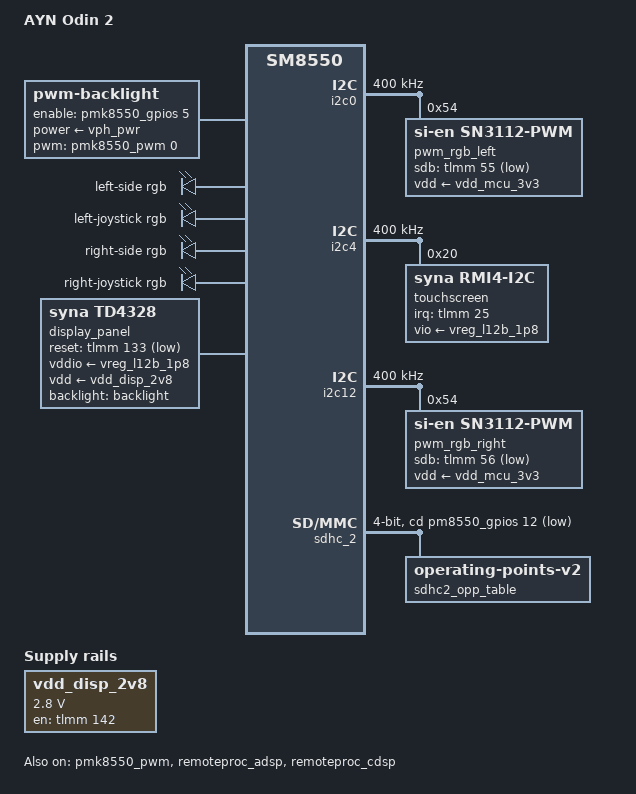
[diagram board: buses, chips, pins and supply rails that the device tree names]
// SPDX-License-Identifier: BSD-3-Clause
/*
 * Copyright (c) 2025, Teguh Sobirin.
 * Copyright (c) 2025, ROCKNIX (https://github.com/ROCKNIX)
 */

/dts-v1/;

#include "qcs8550-ayn-common.dtsi"

/ {
	model = "AYN Odin 2";
	compatible = "ayn,odin2", "qcom,qcs8550", "qcom,sm8550";
	qcom,msm-id = <603 0x20000>;
	qcom,board-id = <0x1001f 0>;

	backlight: backlight {
		compatible = "pwm-backlight";
		pwms = <&pmk8550_pwm 0 860000>;
		brightness-levels = <1023 0>;
		num-interpolated-steps = <1023>;
		default-brightness-level = <600>;
		power-supply = <&vph_pwr>;
		enable-gpios = <&pmk8550_gpios 5 GPIO_ACTIVE_HIGH>;
		pinctrl-names = "default";
		pinctrl-0 = <&pwm_backlight_default>;
		status = "okay";
	};

	vdd_disp_2v8: vdd-disp-2v8-regulator {
		compatible = "regulator-fixed";
		regulator-name = "vdd_disp_2v8";

		regulator-min-microvolt = <2800000>;
		regulator-max-microvolt = <2800000>;

		gpio = <&tlmm 142 GPIO_ACTIVE_HIGH>;
		enable-active-high;
	};

	led_left_side: led-controller-1 {
		compatible = "pwm-leds-multicolor";

		multi-led {
			label = "left-side";
			color = <LED_COLOR_ID_RGB>;
			max-brightness = <255>;

			led-red {
				color = <LED_COLOR_ID_RED>;
				pwms = <&pwm_rgb_left 0>;
			};

			led-green {
				color = <LED_COLOR_ID_GREEN>;
				pwms = <&pwm_rgb_left 1>;
			};

			led-blue {
				color = <LED_COLOR_ID_BLUE>;
				pwms = <&pwm_rgb_left 2>;
			};
		};
	};

	led_left_joystick: led-controller-2 {
		compatible = "pwm-leds-multicolor";

		multi-led {
			label = "left-joystick";
			color = <LED_COLOR_ID_RGB>;
			max-brightness = <255>;

			led-red {
				color = <LED_COLOR_ID_RED>;
				pwms = <&pwm_rgb_left 6>;
			};

			led-green {
				color = <LED_COLOR_ID_GREEN>;
				pwms = <&pwm_rgb_left 7>;
			};

			led-blue {
				color = <LED_COLOR_ID_BLUE>;
				pwms = <&pwm_rgb_left 8>;
			};
		};
	};

	led_right_side: led-controller-3 {
		compatible = "pwm-leds-multicolor";

		multi-led {
			label = "right-side";
			color = <LED_COLOR_ID_RGB>;
			max-brightness = <255>;

			led-red {
				color = <LED_COLOR_ID_RED>;
				pwms = <&pwm_rgb_right 0>;
			};

			led-green {
				color = <LED_COLOR_ID_GREEN>;
				pwms = <&pwm_rgb_right 1>;
			};

			led-blue {
				color = <LED_COLOR_ID_BLUE>;
				pwms = <&pwm_rgb_right 2>;
			};
		};
	};

	led_right_joystick: led-controller-4 {
		compatible = "pwm-leds-multicolor";

		multi-led {
			label = "right-joystick";
			color = <LED_COLOR_ID_RGB>;
			max-brightness = <255>;

			led-red {
				color = <LED_COLOR_ID_RED>;
				pwms = <&pwm_rgb_right 6>;
			};

			led-green {
				color = <LED_COLOR_ID_GREEN>;
				pwms = <&pwm_rgb_right 7>;
			};

			led-blue {
				color = <LED_COLOR_ID_BLUE>;
				pwms = <&pwm_rgb_right 8>;
			};
		};
	};
};

&display_panel {
	compatible = "syna,td4328";

	vddio-supply = <&vreg_l12b_1p8>;
	vdd-supply = <&vdd_disp_2v8>;

        backlight = <&backlight>;
	reset-gpios = <&tlmm 133 GPIO_ACTIVE_LOW>;

	rotation = <90>;
};

&gpu {
	zap-shader {
		firmware-name = "qcom/sm8550/ayn/odin2portal/a740_zap.mbn";
	};
};

&pmk8550_gpios {
	pmk8550_sleep_clk: sleep-clk-state {
		pins = "gpio3";
		function = "func1";
		input-disable;
		output-enable;
		bias-disable;
		power-source = <0>;
	};

	pwm_backlight_default: pwm-backlight-default-state {
		pins = "gpio5";
		function = "func3";
		input-disable;
		output-low;
		output-enable;
		bias-disable;
		power-source = <0>;
		qcom,drive-strength = <2>;
	};
};

&pmk8550_pwm {
	status = "okay";
};

&i2c0 {
	clock-frequency = <400000>;
	status = "okay";

	pwm_rgb_left: sn3112@54 {
		compatible = "si-en,sn3112-pwm";
		reg = <0x54>;
		sdb-gpios = <&tlmm 55 GPIO_ACTIVE_LOW>;
		vdd-supply = <&vdd_mcu_3v3>;
		#pwm-cells = <1>;
	};
};

&i2c4 {
	clock-frequency = <400000>;
	status = "okay";

	touchscreen@20 {
		compatible = "syna,rmi4-i2c";
		reg = <0x20>;
		#address-cells = <1>;
		#size-cells = <0>;
		interrupts-extended = <&tlmm 25 0x2008>;

		pinctrl-names = "default", "sleep";
		pinctrl-0 = <&ts_int_default>;
		pinctrl-1 = <&ts_int_sleep>;

		vio-supply = <&vreg_l12b_1p8>;

		syna,startup-delay-ms = <200>;
		syna,reset-delay-ms = <200>;

		rmi4-f01@1 {
			syna,nosleep-mode = <0x1>;
			reg = <0x1>;
		};

		rmi4-f12@12 {
			reg = <0x12>;
			syna,rezero-wait-ms = <20>;
			syna,clip-x-low = <0>;
			syna,clip-y-low = <0>;
			syna,clip-x-high = <1080>;
			syna,clip-y-high = <1920>;
			syna,sensor-type = <1>;
			touchscreen-inverted-x;
		};
	};
};

&i2c12 {
	clock-frequency = <400000>;
	status = "okay";

	pwm_rgb_right: sn3112@54 {
		compatible = "si-en,sn3112-pwm";
		reg = <0x54>;
		sdb-gpios = <&tlmm 56 GPIO_ACTIVE_LOW>;
		vdd-supply = <&vdd_mcu_3v3>;
		#pwm-cells = <1>;
	};
};

&remoteproc_adsp {
	firmware-name = "qcom/sm8550/ayn/odin2portal/adsp.mbn",
			"qcom/sm8550/ayn/odin2portal/adsp_dtb.mbn";
	status = "okay";
};

&remoteproc_cdsp {
	firmware-name = "qcom/sm8550/ayn/odin2portal/cdsp.mbn",
			"qcom/sm8550/ayn/odin2portal/cdsp_dtb.mbn";
	status = "okay";
};

&spk_amp_l {
	firmware-name = "qcom/sm8550/ayn/odin2portal/aw883xx_acf.bin";
};

&spk_amp_r {
	firmware-name = "qcom/sm8550/ayn/odin2portal/aw883xx_acf.bin";
};

&soc {
    qcom_tzlog: qcom_tzlog {
        status = "disabled";
    };

    arch_timer: arch_timer {
        status = "disabled";
    };
};

/delete-node/ &sdhc_2;

&soc {
	sdhc_2: sdhci@8804000 {
		compatible = "qcom,sdhci-msm-v5-downstream";
		reg = <0 0x08804000 0 0x1000>;
		reg-names = "hc_mem";
		interrupts = <GIC_SPI 207 IRQ_TYPE_LEVEL_HIGH>,
					<GIC_SPI 223 IRQ_TYPE_LEVEL_HIGH>;
		interrupt-names = "hc_irq", "pwr_irq";
		bus-width = <4>;
		no-sdio;
		no-mmc;
		qcom,restore-after-cx-collapse;
		qcom,uses_level_shifter;
		qcom,dll_lock_bist_fail_wa;
		clocks = <&gcc GCC_SDCC2_AHB_CLK>,
			<&gcc GCC_SDCC2_APPS_CLK>;
		clock-names = "iface", "core";

		/*
		 * DLL HSR settings. Refer go/hsr - <Target> DLL settings.
		 * Note that the DLL_CONFIG_2 value is not passed from the
		 * device tree, but it is calculated in the driver.
		 */
		qcom,dll-hsr-list = <0x0007442C 0x0 0x10
					0x090106C0 0x80040868>;

		iommus = <&apps_smmu 0x540 0x0>;
		dma-coherent;
		interconnects = <&aggre2_noc MASTER_SDCC_2 0 &mc_virt SLAVE_EBI1 0>,
				<&gem_noc MASTER_APPSS_PROC 0 &config_noc SLAVE_SDCC_2 0>;
		interconnect-names = "sdhc-ddr", "cpu-sdhc";

		qcom,msm-bus,name = "sdhc2";
		qcom,msm-bus,num-cases = <0x07>;
		qcom,msm-bus,num-paths = <0x02>;
		qcom,msm-bus,vectors-KBps = <0x00 0x00 0x00 0x00 0x416 0xc80 0x640 0x640 0xff50 0x3d090 0x186a0 0x208c8 0x1fe9e 0x3d090 0x208c8 0x208c8 0x3fd3e 0x3d090 0x249f0 0x208c8 0x3fd3e 0xc3500 0x493e0 0x493e0 0x146cc2 0x3e8000 0x146cc2 0x3e8000>;
		qcom,bus-bw-vectors-bps = <0x00 0x61a80 0x17d7840 0x2faf080 0x5f5e100 0xbebc200 0xffffffff>;

		operating-points-v2 = <&sdhc2_opp_table>;

		vdd-supply = <&vreg_l9b_2p9>;
		qcom,vdd-voltage-level = <0x2d0370 0x2d2a80>;
		qcom,vdd-current-level = <0x00 0xc3500>;

		vdd-io-supply = <&vreg_l8b_1p8>;
		qcom,vdd-io-voltage-level = <0x1b7740 0x2d2a80>;
		qcom,vdd-io-current-level = <0x00 0x15e0>;

		pinctrl-names = "default", "sleep";
		pinctrl-0 = <&sdc2_default &sdc2_card_det_n>;
		pinctrl-1 = <&sdc2_sleep &sdc2_card_det_n>;

		cd-gpios = <&pm8550_gpios 12 GPIO_ACTIVE_LOW>;
		resets = <&gcc GCC_SDCC2_BCR>;
		reset-names = "core_reset";

		qos0 {
			mask = <0xf0>;
			vote = <0x2c>;
		};

		qos1 {
			mask = <0x0f>;
			vote = <0x2c>;
		};

		sdhc2_opp_table: opp-table {
			compatible = "operating-points-v2";

			opp-100000000 {
				opp-hz = <0x00 0x5f5e100>;
				opp-peak-kBps = <0x27100 0x186a0>;
				opp-avg-kBps = <0xc350 0x00>;
			};

			opp-202000000 {
				opp-hz = <0x00 0xc0a4680>;
				opp-peak-kBps = <0x30d40 0x1d4c0>;
				opp-avg-kBps = <0x19640 0x00>;
			};
		};
	};
};
